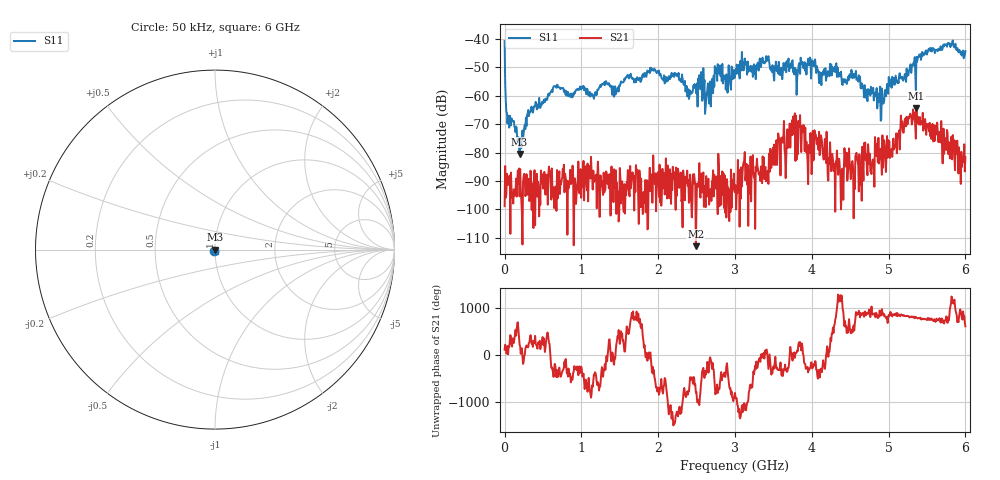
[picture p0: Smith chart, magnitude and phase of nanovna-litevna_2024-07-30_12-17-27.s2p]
! NanoVNA-App by OneOfEleven et al v1.1.209 (+OD15)
! Date: 2024-07-30 12:17:31
! Start: 50kHz Stop: 6GHz Points: 801
! S-Parameter data: F S11 S21 S12 S22
# Hz S RI R 50
!  Frequency  S11_Real  S11_Imag  S21_Real  S21_Imag  S12_Real  S12_Imag  S22_Real  S22_Imag
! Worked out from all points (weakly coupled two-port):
!   801 points, 50 kHz to 6 GHz, reference 50 ohm
!   highest |S21| = -64.30 dB at 5.363 GHz (marker M1); lowest = -112.9 dB at 2.49 GHz (marker M2)
!   lowest |S11| = -80.5 dB at 195 MHz (marker M3), VSWR 1.00, Z = 50 - j0.00904 ohm
!   |S11| at or under -10 dB: start of sweep to end of sweep
!   S12 and S22 are empty: the file has one direction only
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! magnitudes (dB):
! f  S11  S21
! 50 kHz  -40.8  -98.9
! 45.05 MHz  -67.0  -91.4
! 195 MHz  -80.5  -95.4
! 322.5 MHz  -66.1  -97.1
! 660 MHz  -56.8  -92.0
! 1.005 GHz  -56.9  -89.0
! 1.433 GHz  -59.7  -92.3
! 2.003 GHz  -51.9  -90.5
! 2.49 GHz  -56.8  -112.9
! 2.64 GHz  -58.0  -90.0
! 2.768 GHz  -54.8  -93.8
! 3 GHz  -52.6  -93.9
! 3.503 GHz  -52.7  -84.3
! 3.765 GHz  -50.5  -72.1
! 4.005 GHz  -47.6  -82.8
! 4.125 GHz  -56.3  -74.7
! 4.545 GHz  -52.4  -103.1
! 4.875 GHz  -61.7  -83.9
! 5.003 GHz  -53.4  -76.6
! 5.363 GHz  -46.4  -64.3
! 5.76 GHz  -42.8  -72.0
! 6 GHz  -44.3  -81.6
